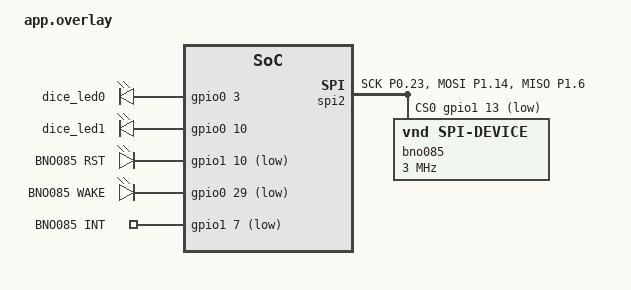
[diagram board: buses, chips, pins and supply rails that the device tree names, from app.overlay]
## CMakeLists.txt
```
# SPDX-License-Identifier: Apache-2.0

cmake_minimum_required(VERSION 3.20.0)
find_package(Zephyr REQUIRED HINTS $ENV{ZEPHYR_BASE})
project(iot-dice)

target_sources(app PRIVATE
    src/main.cpp
    src/bno085.cpp
    src/ble_orient.cpp
    src/dice_fsm.cpp
)
target_link_libraries(app PUBLIC m)
```

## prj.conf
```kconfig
CONFIG_CPP=y

CONFIG_GPIO=y
CONFIG_SPI=y
CONFIG_PINCTRL=y

CONFIG_BT=y
CONFIG_BT_PERIPHERAL=y
CONFIG_BT_DEVICE_NAME="dice"
CONFIG_BT_MAX_CONN=1
# Largest notify payload = 58 bytes (STREAM) → ATT PDU = 61 → L2CAP ≥ 61
# Set MTU with headroom and matching ACL buffers
CONFIG_BT_L2CAP_TX_MTU=80
CONFIG_BT_BUF_ACL_RX_SIZE=86
CONFIG_BT_BUF_ACL_TX_SIZE=86
# Peripheral-requested 2M PHY for latency
CONFIG_BT_USER_PHY_UPDATE=y

CONFIG_CONSOLE=y
CONFIG_PRINTK=y
CONFIG_STDOUT_CONSOLE=y

# printfをJ-Link RTTに出す
CONFIG_USE_SEGGER_RTT=y
CONFIG_RTT_CONSOLE=y
CONFIG_UART_CONSOLE=n

# printf("%f") 用（NCS 3.4.0ではPicolibcが既定）
CONFIG_CBPRINTF_FP_SUPPORT=y

CONFIG_MAIN_STACK_SIZE=8192

CONFIG_SEGGER_RTT_BUFFER_SIZE_UP=4096

CONFIG_HWINFO=y
```

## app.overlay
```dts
#include <zephyr/dt-bindings/pinctrl/nrf-pinctrl.h>
#include <zephyr/dt-bindings/regulator/nrf5x.h>

/ {
    aliases {
        led0 = &dice_led0;
        led1 = &dice_led1;
    };

    dice_leds {
        compatible = "gpio-leds";

        dice_led0: dice_led0 {
            gpios = <&gpio0 3 GPIO_ACTIVE_HIGH>;
        };

        dice_led1: dice_led1 {
            gpios = <&gpio0 10 GPIO_ACTIVE_HIGH>;
        };
    };

    bno085_ctrl {
        compatible = "gpio-leds";

        bno_rst: bno-rst {
            gpios = <&gpio1 10 GPIO_ACTIVE_LOW>;
            label = "BNO085 RST";
        };

        bno_wake: bno-wake {
            gpios = <&gpio0 29 GPIO_ACTIVE_LOW>;
            label = "BNO085 WAKE";
        };
    };

    bno085_inputs {
        compatible = "gpio-keys";

        bno_int: bno-int {
            gpios = <&gpio1 7 GPIO_ACTIVE_LOW>;
            label = "BNO085 INT";
        };
    };
};

&pinctrl {
    bno_spi2_default: bno_spi2_default {
        group1 {
            psels = <NRF_PSEL(SPIM_SCK, 0, 23)>,
                    <NRF_PSEL(SPIM_MOSI, 1, 14)>,
                    <NRF_PSEL(SPIM_MISO, 1, 6)>;
        };
    };

    bno_spi2_sleep: bno_spi2_sleep {
        group1 {
            psels = <NRF_PSEL(SPIM_SCK, 0, 23)>,
                    <NRF_PSEL(SPIM_MOSI, 1, 14)>,
                    <NRF_PSEL(SPIM_MISO, 1, 6)>;
            low-power-enable;
        };
    };
};

/* カスタムボード: DCDC インダクタ未実装のため LDO モードに変更 */
&vregmain {
    regulator-initial-mode = <NRF5X_REG_MODE_LDO>;
};

&vregradio {
    regulator-initial-mode = <NRF5X_REG_MODE_LDO>;
};

&spi2 {
    compatible = "nordic,nrf-spim";
    status = "okay";

    pinctrl-0 = <&bno_spi2_default>;
    pinctrl-1 = <&bno_spi2_sleep>;
    pinctrl-names = "default", "sleep";

    cs-gpios = <&gpio1 13 GPIO_ACTIVE_LOW>;

    #address-cells = <1>;
    #size-cells = <0>;

    bno085: bno085@0 {
        compatible = "vnd,spi-device";
        reg = <0>;
        spi-max-frequency = <3000000>;
    };
};
```

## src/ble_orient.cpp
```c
#include "ble_orient.hpp"

#include <zephyr/bluetooth/bluetooth.h>
#include <zephyr/bluetooth/conn.h>
#include <zephyr/bluetooth/gatt.h>
#include <zephyr/bluetooth/uuid.h>
#include <zephyr/drivers/gpio.h>
#include <zephyr/sys/atomic.h>
#include <stdio.h>
#include <string.h>

/* ── UUIDs ──────────────────────────────────────────────────────────────── */

#define BT_UUID_DICE_SVC_VAL \
    BT_UUID_128_ENCODE(0xd1ce0001, 0x1234, 0x5678, 0xabcd, 0x1234567890ab)
#define BT_UUID_DICE_ORIENT_VAL \
    BT_UUID_128_ENCODE(0xd1ce0002, 0x1234, 0x5678, 0xabcd, 0x1234567890ab)
#define BT_UUID_DICE_CMD_VAL \
    BT_UUID_128_ENCODE(0xd1ce0003, 0x1234, 0x5678, 0xabcd, 0x1234567890ab)

static struct bt_uuid_128 svc_uuid    = BT_UUID_INIT_128(BT_UUID_DICE_SVC_VAL);
static struct bt_uuid_128 orient_uuid = BT_UUID_INIT_128(BT_UUID_DICE_ORIENT_VAL);
static struct bt_uuid_128 cmd_uuid    = BT_UUID_INIT_128(BT_UUID_DICE_CMD_VAL);

/* ── packet types ───────────────────────────────────────────────────────── */

static constexpr uint8_t PKT_STREAM = 0x01;
static constexpr uint8_t PKT_IMPACT = 0x02;
static constexpr uint8_t PKT_RESULT = 0x03;

/* ── state ───────────────────────────────────────────────────────────────── */

static const struct gpio_dt_spec led_conn = GPIO_DT_SPEC_GET(DT_ALIAS(led1), gpios);

static struct bt_conn *active_conn = NULL;
static bool            notify_en   = false;
static atomic_t        simulation_en = ATOMIC_INIT(0);
static uint8_t         last_pkt[58];
static uint16_t        last_pkt_len = 0;

/* ── little-endian pack helpers ─────────────────────────────────────────── */

static inline void put_u32(uint8_t *p, uint32_t v)
{
    p[0] = (uint8_t)v; p[1] = (uint8_t)(v >> 8);
    p[2] = (uint8_t)(v >> 16); p[3] = (uint8_t)(v >> 24);
}

static inline void put_u16(uint8_t *p, uint16_t v)
{
    p[0] = (uint8_t)v; p[1] = (uint8_t)(v >> 8);
}

static inline void put_f32(uint8_t *p, float v)
{
    memcpy(p, &v, 4);
}

static inline void put_quat(uint8_t *p, const BNO085::Sample &s)
{
    put_f32(p + 0,  s.qx); put_f32(p + 4,  s.qy);
    put_f32(p + 8,  s.qz); put_f32(p + 12, s.qw);
}

/* ── GATT callbacks ─────────────────────────────────────────────────────── */

static ssize_t on_orient_read(struct bt_conn *conn,
                               const struct bt_gatt_attr *attr,
                               void *buf, uint16_t len, uint16_t offset)
{
    return bt_gatt_attr_read(conn, attr, buf, len, offset,
                             last_pkt, last_pkt_len);
}

static void on_orient_ccc(const struct bt_gatt_attr *attr, uint16_t value)
{
    (void)attr;
    notify_en = (value == BT_GATT_CCC_NOTIFY);
    printf("BLE orient notify %s\n", notify_en ? "on" : "off");
}

static ssize_t on_cmd_write(struct bt_conn *conn,
                             const struct bt_gatt_attr *attr,
                             const void *buf, uint16_t len,
                             uint16_t offset, uint8_t flags)
{
    (void)conn; (void)attr; (void)flags;
    if (offset != 0 || len != 1) {
        return BT_GATT_ERR(BT_ATT_ERR_INVALID_ATTRIBUTE_LEN);
    }

    const uint8_t command = *(const uint8_t *)buf;
    if (command > 1) {
        return BT_GATT_ERR(BT_ATT_ERR_VALUE_NOT_ALLOWED);
    }

    atomic_set(&simulation_en, command);
    printf("BLE mode: %s\n", command ? "simulation" : "pose");
    return len;
}

BT_GATT_SERVICE_DEFINE(dice_svc,
    BT_GATT_PRIMARY_SERVICE(&svc_uuid),
    BT_GATT_CHARACTERISTIC(&orient_uuid.uuid,
                           BT_GATT_CHRC_READ | BT_GATT_CHRC_NOTIFY,
                           BT_GATT_PERM_READ,
                           on_orient_read, NULL, NULL),
    BT_GATT_CCC(on_orient_ccc, BT_GATT_PERM_READ | BT_GATT_PERM_WRITE),
    BT_GATT_CHARACTERISTIC(&cmd_uuid.uuid,
                           BT_GATT_CHRC_WRITE_WITHOUT_RESP,
                           BT_GATT_PERM_WRITE,
                           NULL, on_cmd_write, NULL),
);

static void notify(const uint8_t *pkt, uint16_t len)
{
    memcpy(last_pkt, pkt, len < sizeof(last_pkt) ? len : sizeof(last_pkt));
    last_pkt_len = len;

    if (notify_en && active_conn) {
        bt_gatt_notify(active_conn, &dice_svc.attrs[2], pkt, len);
    }
}

/* ── BLE connection callbacks ───────────────────────────────────────────── */

static const struct bt_data ad[] = {
    BT_DATA_BYTES(BT_DATA_FLAGS, BT_LE_AD_GENERAL | BT_LE_AD_NO_BREDR),
    BT_DATA(BT_DATA_NAME_COMPLETE,
            CONFIG_BT_DEVICE_NAME, sizeof(CONFIG_BT_DEVICE_NAME) - 1),
};

static void on_connected(struct bt_conn *conn, uint8_t err)
{
    if (err) { printf("BLE connect err=%u\n", err); return; }
    active_conn = bt_conn_ref(conn);
    gpio_pin_set_dt(&led_conn, 1);
    printf("BLE connected\n");

    /* Web Bluetooth cannot set link parameters from the central side, so the
     * peripheral must ask: 7.5–15 ms interval and 2M PHY for low latency.
     * (BT_LE_CONN_PARAM / BT_CONN_LE_PHY_PARAM_* are C compound literals —
     * not valid C++, hence the static structs.) */
    static const struct bt_le_conn_param conn_params = {
        .interval_min = 6,    /* 7.5 ms  */
        .interval_max = 12,   /* 15 ms   */
        .latency      = 0,
        .timeout      = 400,  /* 4 s     */
    };
    static const struct bt_conn_le_phy_param phy_2m = {
        .options     = BT_CONN_LE_PHY_OPT_NONE,
        .pref_tx_phy = BT_GAP_LE_PHY_2M,
        .pref_rx_phy = BT_GAP_LE_PHY_2M,
    };

    int rc = bt_conn_le_param_update(conn, &conn_params);
    if (rc) printf("BLE param update req err=%d\n", rc);

    rc = bt_conn_le_phy_update(conn, &phy_2m);
    if (rc) printf("BLE PHY update req err=%d\n", rc);
}

static void on_disconnected(struct bt_conn *conn, uint8_t reason)
{
    (void)conn;
    printf("BLE disconnected reason=%u\n", reason);
    bt_conn_unref(active_conn);
    active_conn = NULL;
    notify_en   = false;
    atomic_set(&simulation_en, 0);
    gpio_pin_set_dt(&led_conn, 0);
    bt_le_adv_start(BT_LE_ADV_CONN_FAST_2, ad, ARRAY_SIZE(ad), NULL, 0);
}

static void on_param_updated(struct bt_conn *conn, uint16_t interval,
                             uint16_t latency, uint16_t timeout)
{
    (void)conn;
    printf("BLE params: interval=%.2fms latency=%u timeout=%ums\n",
           interval * 1.25, latency, timeout * 10);
}

BT_CONN_CB_DEFINE(conn_cbs) = {
    .connected        = on_connected,
    .disconnected     = on_disconnected,
    .le_param_updated = on_param_updated,
};

/* ── namespace implementation ───────────────────────────────────────────── */

namespace BleOrient {

void init()
{
    gpio_pin_configure_dt(&led_conn, GPIO_OUTPUT_INACTIVE);

    int err = bt_enable(NULL);
    if (err) { printf("BLE enable err=%d\n", err); return; }

    err = bt_le_adv_start(BT_LE_ADV_CONN_FAST_2, ad, ARRAY_SIZE(ad), NULL, 0);
    if (err) { printf("BLE adv err=%d\n", err); return; }

    printf("BLE advertising as \"%s\"\n", CONFIG_BT_DEVICE_NAME);
}

bool simulationEnabled()
{
    return atomic_get(&simulation_en) != 0;
}

void sendPose(const BNO085::Sample &s)
{
    uint8_t pkt[22];
    pkt[0] = PKT_STREAM;
    pkt[1] = (uint8_t)DiceFsm::State::REST;
    put_u32(&pkt[2], (uint32_t)(s.t_us / 1000));
    put_quat(&pkt[6], s);
    notify(pkt, sizeof(pkt));
}

void sendStream(const BNO085::Sample &s, DiceFsm::State state, const float v[3])
{
    uint8_t pkt[58];
    pkt[0] = PKT_STREAM;
    pkt[1] = (uint8_t)state;
    put_u32(&pkt[2], (uint32_t)(s.t_us / 1000));
    put_quat(&pkt[6], s);
    put_f32(&pkt[22], s.wx); put_f32(&pkt[26], s.wy); put_f32(&pkt[30], s.wz);
    put_f32(&pkt[34], s.ax); put_f32(&pkt[38], s.ay); put_f32(&pkt[42], s.az);
    put_f32(&pkt[46], v[0]); put_f32(&pkt[50], v[1]); put_f32(&pkt[54], v[2]);
    notify(pkt, sizeof(pkt));
}

void sendImpact(const DiceFsm::ImpactInfo &info)
{
    uint8_t pkt[50];
    pkt[0] = PKT_IMPACT;
    pkt[1] = 0;
    put_u32(&pkt[2], info.t_ms);
    put_quat(&pkt[6], info.pre);
    put_f32(&pkt[22], info.pre.wx); put_f32(&pkt[26], info.pre.wy);
    put_f32(&pkt[30], info.pre.wz);
    put_f32(&pkt[34], info.vx); put_f32(&pkt[38], info.vy);
    put_f32(&pkt[42], info.vz);
    put_u16(&pkt[46], info.fall_ms);
    pkt[48] = info.gyro_sat;
    pkt[49] = info.acc_sat;
    notify(pkt, sizeof(pkt));
}

void sendResult(const DiceFsm::ResultInfo &info)
{
    uint8_t pkt[32];
    pkt[0] = PKT_RESULT;
    pkt[1] = 0;
    put_u32(&pkt[2], info.t_ms);
    put_quat(&pkt[6], info.rest);
    put_f32(&pkt[22], info.max_w);
    put_f32(&pkt[26], info.max_a);
    pkt[30] = info.gyro_sat;
    pkt[31] = info.acc_sat;
    notify(pkt, sizeof(pkt));
}

} // namespace BleOrient
```

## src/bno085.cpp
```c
#include "bno085.hpp"

#include <zephyr/kernel.h>
#include <errno.h>
#include <math.h>
#include <stdio.h>
#include <string.h>

#ifndef M_PI
#define M_PI 3.14159265358979323846
#endif

/* ── public ─────────────────────────────────────────────────────────────── */

bool BNO085::begin(const spi_dt_spec  *spi,
                   const gpio_dt_spec *rst,
                   const gpio_dt_spec *wake,
                   const gpio_dt_spec *intn)
{
    spi_  = spi;
    rst_  = rst;
    wake_ = wake;
    intn_ = intn;

    k_sem_init(&data_sem_, 0, 16);

    gpio_pin_configure_dt(rst_,  GPIO_OUTPUT_INACTIVE);
    gpio_pin_configure_dt(wake_, GPIO_OUTPUT_INACTIVE);
    gpio_pin_configure_dt(intn_, GPIO_INPUT | GPIO_PULL_UP);

    /* Set up GPIO edge interrupt BEFORE releasing reset so we don't miss the first edge */
    gpio_init_callback(&int_cb_, intIsr, BIT(intn_->pin));
    gpio_add_callback(intn_->port, &int_cb_);
    gpio_pin_interrupt_configure_dt(intn_, GPIO_INT_EDGE_TO_ACTIVE);

    /* PS0/WAKE physical HIGH → SPI mode */
    gpio_pin_set_dt(wake_, 0);

    gpio_pin_set_dt(rst_, 1);
    k_msleep(20);
    gpio_pin_set_dt(rst_, 0);

    /* Wait for first INT via semaphore (ISR fires on falling edge) */
    if (waitInt(1000) != 0) {
        printf("BNO085: no INT after reset\n");
        return false;
    }
    return true;
}

bool BNO085::enableReport(uint8_t report_id, uint32_t interval_us)
{
    if (num_reports_ < MAX_REPORTS) {
        report_ids_[num_reports_++] = report_id;
    }

    uint8_t cmd[17] = {};
    cmd[0] = CMD_SET_FEATURE;
    cmd[1] = report_id;
    cmd[5] = (uint8_t)(interval_us >>  0);
    cmd[6] = (uint8_t)(interval_us >>  8);
    cmd[7] = (uint8_t)(interval_us >> 16);
    cmd[8] = (uint8_t)(interval_us >> 24);

    if (!booted_) {
        /*
         * skip=2: skip ch=0 advertisement and ch=2 unsolicited init;
         * piggyback Set Feature on ch=1 (reset-complete) per SH-2 spec.
         */
        queueWrite(CH_CONTROL, cmd, sizeof(cmd), 2);
        drainBoot();
        booted_ = true;
    } else {
        /* Device is running: skip=0, piggyback on the next data packet. */
        queueWrite(CH_CONTROL, cmd, sizeof(cmd), 0);
        for (int i = 0; i < 8; i++) {
            if (waitInt(300) != 0) break;
            uint8_t ch, payload[BUF_SIZE];
            size_t  plen;
            readPacket(&ch, payload, sizeof(payload), &plen);
            if (lw_len_ == 0) break;  /* write consumed */
        }
    }
    return true;
}

bool BNO085::poll(Sample *out)
{
    /*
     * Loop until a rotation-vector packet arrives.
     * Gyro/accel packets update the internal cache but do not return.
     * CPU yields to other threads while waiting for each INT.
     */
    while (true) {
        if (k_sem_take(&data_sem_, K_FOREVER) != 0) return false;

        uint8_t ch;
        uint8_t payload[BUF_SIZE];
        size_t  plen;

        if (readPacket(&ch, payload, sizeof(payload), &plen) != 0) continue;

        if ((ch == CH_REPORTS || ch == CH_WAKE) && plen > 0) {
            if (parseReport(payload, plen, out)) {
                out->t_us = k_ticks_to_us_floor64(k_uptime_ticks());
                return true;
            }
        } else if (ch == CH_CONTROL && plen > 0) {
            printf("BNO085: ctrl id=0x%02x\n", payload[0]);
        }
    }
}

/* ── private ────────────────────────────────────────────────────────────── */

void BNO085::intIsr(const struct device *port,
                    struct gpio_callback *cb,
                    gpio_port_pins_t pins)
{
    (void)port; (void)pins;
    BNO085 *self = CONTAINER_OF(cb, BNO085, int_cb_);
    k_sem_give(&self->data_sem_);
}

int BNO085::waitInt(int timeout_ms)
{
    if (k_sem_take(&data_sem_, K_MSEC(timeout_ms)) == 0) return 0;
    return -ETIMEDOUT;
}

int BNO085::readPacket(uint8_t *ch, uint8_t *payload, size_t cap, size_t *len)
{
    memset(txbuf_, 0x00, sizeof(txbuf_));

    if (lw_len_ > 0 && lw_len_ + 4U <= sizeof(txbuf_)) {
        if (lw_skip_ > 0) {
            --lw_skip_;
        } else {
            uint16_t wlen = (uint16_t)(lw_len_ + 4U);
            txbuf_[0] = (uint8_t)(wlen & 0xFF);
            txbuf_[1] = (uint8_t)((wlen >> 8) & 0x7F);
            txbuf_[2] = lw_ch_;
            txbuf_[3] = seq_[lw_ch_]++;
            memcpy(&txbuf_[4], lw_buf_, lw_len_);
            printf("BNO085: piggyback ch=%u cmd=0x%02x\n", lw_ch_, lw_buf_[0]);
            lw_len_ = 0;
        }
    }

    memset(rxbuf_, 0x00, sizeof(rxbuf_));

    const struct spi_buf tx_buf = { .buf = txbuf_, .len = sizeof(txbuf_) };
    const struct spi_buf rx_buf = { .buf = rxbuf_, .len = sizeof(rxbuf_) };
    const struct spi_buf_set tx_set = { .buffers = &tx_buf, .count = 1 };
    const struct spi_buf_set rx_set = { .buffers = &rx_buf, .count = 1 };

    int ret = spi_transceive_dt(spi_, &tx_set, &rx_set);
    if (ret) return ret;

    uint16_t pkt_len = (uint16_t)(((uint16_t)(rxbuf_[1] & 0x7F) << 8) | rxbuf_[0]);

    if (pkt_len == 0 || pkt_len == 0x7FFF || pkt_len == 0xFFFF) return -EAGAIN;
    if (pkt_len < 4 || pkt_len > (uint16_t)BUF_SIZE) {
        printf("BNO085: bad SHTP len=%u\n", pkt_len);
        return -EIO;
    }

    *ch  = rxbuf_[2];
    *len = pkt_len - 4;
    if (*len > cap) return -EMSGSIZE;

    memcpy(payload, &rxbuf_[4], *len);
    return 0;
}

void BNO085::queueWrite(uint8_t ch, const uint8_t *data, size_t len, int skip)
{
    if (len > sizeof(lw_buf_)) {
        printf("BNO085: queueWrite too large %u\n", (unsigned)len);
        return;
    }
    lw_ch_   = ch;
    lw_len_  = len;
    lw_skip_ = skip;
    memcpy(lw_buf_, data, len);
}

void BNO085::drainBoot()
{
    uint8_t payload[BUF_SIZE];
    uint8_t ch;
    size_t  plen;

    for (int i = 0; i < 16; i++) {
        if (waitInt(500) != 0) {
            printf("BNO085: boot drain done (%d pkts)\n", i);
            return;
        }
        int ret = readPacket(&ch, payload, sizeof(payload), &plen);
        printf("BNO085: boot[%d] ch=%u len=%u id=0x%02x\n",
               i, ch, (unsigned)plen, ret == 0 && plen ? payload[0] : 0);
    }
    printf("BNO085: boot drain hit limit\n");
}

bool BNO085::parseReport(const uint8_t *p, size_t len, Sample *out)
{
    bool   got_rv = false;
    size_t off    = 0;

    while (off < len) {
        uint8_t id = p[off];

        if (id == RPT_TIMEBASE) {
            if (off + 5 > len) break;
            off += 5;
            continue;
        }

        if (id == REPORT_ROTATION_VECTOR || id == REPORT_GAME_ROTATION_VECTOR) {
            size_t needed = (id == REPORT_GAME_ROTATION_VECTOR) ? 12U : 14U;
            if (off + needed > len) break;
            cache_.qx       = (float)leI16(&p[off + 4])  / 16384.0f;
            cache_.qy       = (float)leI16(&p[off + 6])  / 16384.0f;
            cache_.qz       = (float)leI16(&p[off + 8])  / 16384.0f;
            cache_.qw       = (float)leI16(&p[off + 10]) / 16384.0f;
            cache_.accuracy = p[off + 2] & 0x03;
            got_rv = true;
            off += needed;
            continue;
        }

        if (id == REPORT_GYRO_CALIBRATED) {
            /* Q9 = 1/512 rad/s per LSB */
            if (off + 10 > len) break;
            cache_.wx = (float)leI16(&p[off + 4]) / 512.0f;
            cache_.wy = (float)leI16(&p[off + 6]) / 512.0f;
            cache_.wz = (float)leI16(&p[off + 8]) / 512.0f;
            off += 10;
            continue;
        }

        if (id == REPORT_LINEAR_ACCEL) {
            /* Q8 = 1/256 m/s² per LSB, gravity-removed */
            if (off + 10 > len) break;
            cache_.ax = (float)leI16(&p[off + 4]) / 256.0f;
            cache_.ay = (float)leI16(&p[off + 6]) / 256.0f;
            cache_.az = (float)leI16(&p[off + 8]) / 256.0f;
            off += 10;
            continue;
        }

        printf("BNO085: unknown report 0x%02x\n", id);
        break;
    }

    if (got_rv) {
        *out = cache_;
    }
    return got_rv;
}

void BNO085::toEuler(const Sample &s, float *yaw, float *pitch, float *roll)
{
    float qx = s.qx, qy = s.qy, qz = s.qz, qw = s.qw;

    float sinr = 2.0f * (qw * qx + qy * qz);
    float cosr = 1.0f - 2.0f * (qx * qx + qy * qy);
    *roll = atan2f(sinr, cosr);

    float sinp = 2.0f * (qw * qy - qz * qx);
    sinp  = sinp > 1.0f ? 1.0f : (sinp < -1.0f ? -1.0f : sinp);
    *pitch = asinf(sinp);

    float siny = 2.0f * (qw * qz + qx * qy);
    float cosy = 1.0f - 2.0f * (qy * qy + qz * qz);
    *yaw = atan2f(siny, cosy);

    const float r2d = 180.0f / (float)M_PI;
    *yaw   *= r2d;
    *pitch *= r2d;
    *roll  *= r2d;
}

int16_t BNO085::leI16(const uint8_t *p)
{
    return (int16_t)((uint16_t)p[0] | ((uint16_t)p[1] << 8));
}
```

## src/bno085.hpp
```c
#pragma once

#include <zephyr/drivers/gpio.h>
#include <zephyr/drivers/spi.h>
#include <zephyr/kernel.h>
#include <stddef.h>
#include <stdint.h>

class BNO085 {
public:
    static constexpr uint8_t REPORT_GYRO_CALIBRATED      = 0x02;
    static constexpr uint8_t REPORT_LINEAR_ACCEL         = 0x04;
    static constexpr uint8_t REPORT_ROTATION_VECTOR      = 0x05;
    static constexpr uint8_t REPORT_GAME_ROTATION_VECTOR = 0x08;

    struct Sample {
        uint64_t t_us;             /* uptime timestamp at parse (µs) */
        float   qx, qy, qz, qw;  /* rotation quaternion (unit) */
        float   wx, wy, wz;        /* angular velocity  (rad/s, Q9) */
        float   ax, ay, az;        /* linear accel      (m/s²,  Q8, gravity-removed) */
        uint8_t accuracy;          /* 0=unreliable … 3=high */
    };

    bool begin(const spi_dt_spec  *spi,
               const gpio_dt_spec *rst,
               const gpio_dt_spec *wake,
               const gpio_dt_spec *intn);

    bool enableReport(uint8_t report_id, uint32_t interval_us);

    /* Blocks (CPU yields) until the next rotation-vector sample is ready.
     * Gyro/accel packets that arrive between rotation-vector packets update
     * the internal cache and are returned together with the next rv sample. */
    bool poll(Sample *out);

    /* Quaternion → yaw / pitch / roll in degrees. */
    static void toEuler(const Sample &s,
                        float *yaw, float *pitch, float *roll);

private:
    static constexpr int     BUF_SIZE    = 512;
    static constexpr int     MAX_REPORTS = 4;
    static constexpr uint8_t CH_CONTROL  = 2;
    static constexpr uint8_t CH_REPORTS  = 3;
    static constexpr uint8_t CH_WAKE     = 4;
    static constexpr uint8_t CMD_SET_FEATURE = 0xFD;
    static constexpr uint8_t RPT_TIMEBASE    = 0xFB;

    static void intIsr(const struct device *port,
                       struct gpio_callback *cb,
                       gpio_port_pins_t pins);

    int  waitInt(int timeout_ms);
    int  readPacket(uint8_t *ch, uint8_t *payload, size_t cap, size_t *len);
    void queueWrite(uint8_t ch, const uint8_t *data, size_t len, int skip = 0);
    void drainBoot();
    bool parseReport(const uint8_t *payload, size_t len, Sample *out);
    static int16_t leI16(const uint8_t *p);

    const spi_dt_spec  *spi_   = nullptr;
    const gpio_dt_spec *rst_   = nullptr;
    const gpio_dt_spec *wake_  = nullptr;
    const gpio_dt_spec *intn_  = nullptr;

    struct k_sem         data_sem_;
    struct gpio_callback int_cb_;

    uint8_t seq_[6]  = {};
    uint8_t txbuf_[BUF_SIZE];
    uint8_t rxbuf_[BUF_SIZE];

    uint8_t lw_ch_   = 0;
    uint8_t lw_buf_[64];
    size_t  lw_len_  = 0;
    int     lw_skip_ = 0;

    uint8_t report_ids_[MAX_REPORTS] = {};
    int     num_reports_ = 0;
    bool    booted_      = false;
    Sample  cache_       = {};
};
```

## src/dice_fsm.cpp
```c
#include "dice_fsm.hpp"

#include <math.h>

/* ── helpers ────────────────────────────────────────────────────────────── */

void DiceFsm::rotateBodyToWorld(const BNO085::Sample &s,
                                float bx, float by, float bz,
                                float *wx, float *wy, float *wz)
{
    /* v_world = q · v_body · q⁻¹ */
    const float qx = s.qx, qy = s.qy, qz = s.qz, qw = s.qw;

    /* t = 2 (q_vec × v) */
    const float tx = 2.0f * (qy * bz - qz * by);
    const float ty = 2.0f * (qz * bx - qx * bz);
    const float tz = 2.0f * (qx * by - qy * bx);

    /* v' = v + qw·t + q_vec × t */
    *wx = bx + qw * tx + (qy * tz - qz * ty);
    *wy = by + qw * ty + (qz * tx - qx * tz);
    *wz = bz + qw * tz + (qx * ty - qy * tx);
}

void DiceFsm::integrate(const BNO085::Sample &s, float dt)
{
    /* a_lin is body-frame and gravity-removed → R(q)·a_lin is the true
     * world-frame acceleration, including the −g of free fall. */
    float awx, awy, awz;
    rotateBodyToWorld(s, s.ax, s.ay, s.az, &awx, &awy, &awz);
    vx_ += awx * dt;
    vy_ += awy * dt;
    vz_ += awz * dt;
}

void DiceFsm::resetThrowStats()
{
    gyro_sat_ = 0;
    acc_sat_  = 0;
    max_w_    = 0;
    max_a_    = 0;
}

static inline uint8_t clamp_u8(uint32_t v)
{
    return v > 255 ? 255 : (uint8_t)v;
}

/* ── update ─────────────────────────────────────────────────────────────── */

DiceFsm::Event DiceFsm::update(const BNO085::Sample &s)
{
    const float w_norm = sqrtf(s.wx * s.wx + s.wy * s.wy + s.wz * s.wz);
    const float a_norm = sqrtf(s.ax * s.ax + s.ay * s.ay + s.az * s.az);

    float dt = 0.0f;
    if (have_prev_) {
        dt = (float)(s.t_us - prev_t_us_) * 1e-6f;
        if (dt < 0.0f || dt > 0.05f) dt = 0.0f;   /* gap → skip integration */
    }
    prev_t_us_ = s.t_us;
    have_prev_ = true;

    /* ── stillness tracking (shared by all states) ── */
    const bool still = (w_norm < STILL_W) && (a_norm < STILL_A);
    if (still) {
        if (still_since_us_ == 0) still_since_us_ = s.t_us;
    } else {
        still_since_us_ = 0;
    }
    const bool settled = still_since_us_ != 0 &&
                         (s.t_us - still_since_us_) >= (uint64_t)STILL_MS * 1000;

    /* ── saturation / peak tracking while a throw is in progress ── */
    if (state_ != State::REST) {
        const bool gsat = fabsf(s.wx) > GYRO_SAT || fabsf(s.wy) > GYRO_SAT ||
                          fabsf(s.wz) > GYRO_SAT;
        if (gsat) gyro_sat_++;
        if (a_norm > ACC_SAT) acc_sat_++;
        if (w_norm > max_w_) max_w_ = w_norm;
        if (a_norm > max_a_) max_a_ = a_norm;
        integrate(s, dt);
    }

    /* ── ring buffer of recent state (for pre-impact lookback) ── */
    ring_[ring_head_] = { s, vx_, vy_, vz_ };
    const int written = ring_head_;
    ring_head_ = (ring_head_ + 1) % RING_SIZE;
    if (ring_fill_ < RING_SIZE) ring_fill_++;

    Event ev = Event::NONE;

    switch (state_) {

    case State::REST:
        vx_ = vy_ = vz_ = 0.0f;
        if (!still) {
            state_ = State::MOVING;
            resetThrowStats();
            ff_count_ = 0;
        }
        break;

    case State::MOVING:
        if (settled) {
            /* picked up and put back down — not a throw */
            state_ = State::REST;
            vx_ = vy_ = vz_ = 0.0f;
            break;
        }
        /* free-fall: linear accel (gravity-removed) has norm ≈ g */
        if (fabsf(a_norm - G) < FREEFALL_BAND) {
            if (++ff_count_ >= FREEFALL_N) {
                state_        = State::FREEFALL;
                ff_start_us_  = s.t_us - (uint64_t)(FREEFALL_N - 1) * (dt > 0 ? (uint64_t)(dt * 1e6f) : 2500);
                ff_exit_count_ = 0;
            }
        } else {
            ff_count_ = 0;
        }
        break;

    case State::FREEFALL:
        if (a_norm > IMPACT_A) {
            /* ── first table contact ── */
            int back = PRE_IMPACT_BACK;
            if (back > ring_fill_ - 1) back = ring_fill_ - 1;
            const RingEntry &pre =
                ring_[(written - back + RING_SIZE) % RING_SIZE];

            impact_.pre      = pre.s;
            impact_.vx       = pre.vx;
            impact_.vy       = pre.vy;
            impact_.vz       = pre.vz;
            impact_.fall_ms  = (uint16_t)((s.t_us - ff_start_us_) / 1000);
            impact_.gyro_sat = clamp_u8(gyro_sat_);
            impact_.acc_sat  = clamp_u8(acc_sat_);
            impact_.t_ms     = (uint32_t)(s.t_us / 1000);

            state_ = State::TUMBLING;
            ev = Event::IMPACT;
        } else if (fabsf(a_norm - G) >= FREEFALL_BAND) {
            /* left the free-fall band without a spike → caught in hand */
            if (++ff_exit_count_ >= FREEFALL_EXIT_N) {
                state_    = State::MOVING;
                ff_count_ = 0;
            }
        } else {
            ff_exit_count_ = 0;
        }
        break;

    case State::TUMBLING:
        if (settled) {
            result_.rest     = s;
            result_.max_w    = max_w_;
            result_.max_a    = max_a_;
            result_.gyro_sat = clamp_u8(gyro_sat_);
            result_.acc_sat  = clamp_u8(acc_sat_);
            result_.t_ms     = (uint32_t)(s.t_us / 1000);

            state_ = State::REST;
            vx_ = vy_ = vz_ = 0.0f;
            ev = Event::RESULT;
        }
        break;
    }

    return ev;
}
```
